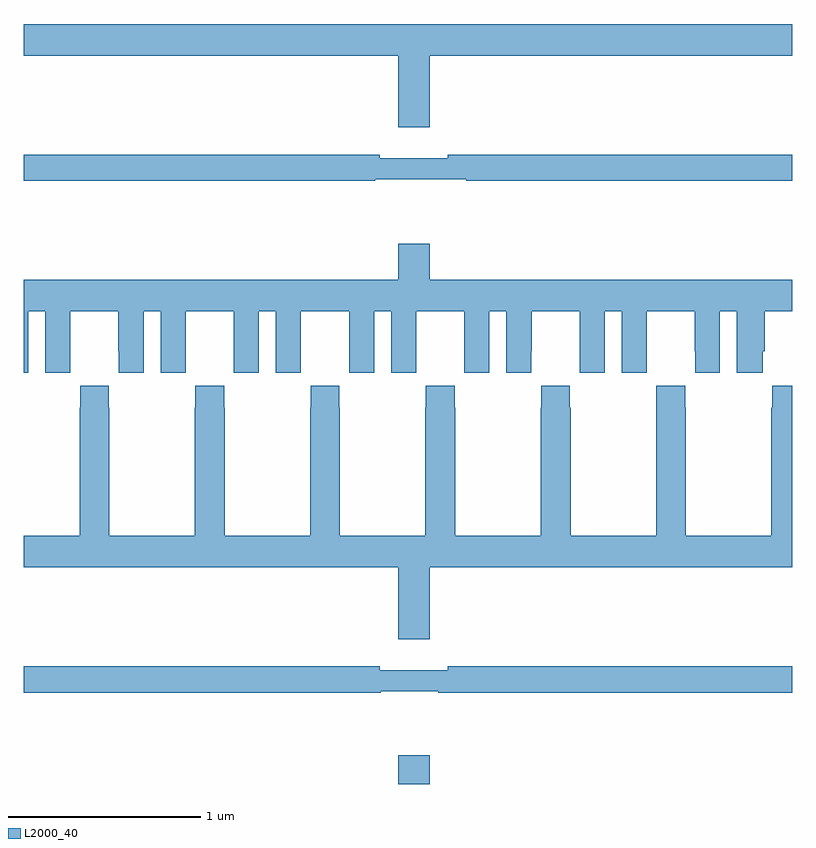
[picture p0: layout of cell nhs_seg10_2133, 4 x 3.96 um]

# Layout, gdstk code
import gdstk
lib = gdstk.Library(unit=1e-6, precision=1e-09)
def R(c, l, rs):  # rectangles x0, y0, x1, y1
    for r in rs: c.add(gdstk.rectangle(r[:2], r[2:], *l))
def P(c, l, *ps):  # polygons
    for p in ps: c.add(gdstk.Polygon(p, *l))
L2000_40 = (2000, 40)

nhs_seg10_2133 = lib.new_cell('nhs_seg10_2133')
R(nhs_seg10_2133, L2000_40, [(224.948,1320.5,225.112,1320.649)])
P(nhs_seg10_2133, L2000_40, [(225.112,1324.292),(227,1324.292),(227,1324.456),(223,1324.456),(223,1324.292),(224.948,1324.292),(224.948,1323.918),(225.112,1323.918)],
  [(224.83,1323.648),(225.304,1323.648),(225.304,1323.64),(227,1323.64),(227,1323.776),(225.208,1323.776),(225.208,1323.757),(224.852,1323.757),(224.852,1323.776),(223,1323.776),(223,1323.64),(224.83,1323.64)],
  [(223.024,1322.96),(223.112,1322.96),(223.112,1322.64),(223.242,1322.64),(223.242,1322.752),(223.243,1322.752),(223.243,1322.96),(223.493,1322.96),(223.493,1322.752),(223.494,1322.752),(223.494,1322.64),(223.624,1322.64),(223.624,1322.96),(223.712,1322.96),(223.712,1322.64),(223.842,1322.64),(223.842,1322.752),(223.843,1322.752),(223.843,1322.96),(224.093,1322.96),(224.093,1322.752),(224.094,1322.752),(224.094,1322.64),(224.224,1322.64),(224.224,1322.96),(224.312,1322.96),(224.312,1322.64),(224.442,1322.64),(224.442,1322.752),(224.443,1322.752),(224.443,1322.96),(224.693,1322.96),(224.693,1322.752),(224.694,1322.752),(224.694,1322.64),(224.824,1322.64),(224.824,1322.96),(224.912,1322.96),(224.912,1322.64),(225.042,1322.64),(225.042,1322.752),(225.043,1322.752),(225.043,1322.96),(225.293,1322.96),(225.293,1322.752),(225.294,1322.752),(225.294,1322.64),(225.424,1322.64),(225.424,1322.96),(225.512,1322.96),(225.512,1322.64),(225.642,1322.64),(225.642,1322.752),(225.643,1322.752),(225.643,1322.96),(225.893,1322.96),(225.893,1322.752),(225.894,1322.752),(225.894,1322.64),(226.024,1322.64),(226.024,1322.96),(226.112,1322.96),(226.112,1322.64),(226.242,1322.64),(226.242,1322.752),(226.243,1322.752),(226.243,1322.96),(226.493,1322.96),(226.493,1322.752),(226.494,1322.752),(226.494,1322.64),(226.624,1322.64),(226.624,1322.96),(226.712,1322.96),(226.712,1322.64),(226.846,1322.64),(226.846,1322.752),(226.856,1322.752),(226.856,1322.96),(227,1322.96),(227,1323.124),(225.112,1323.124),(225.112,1323.313),(224.948,1323.313),(224.948,1323.124),(223,1323.124),(223,1322.64),(223.024,1322.64)],
  [(224.948,1321.254),(225.112,1321.254),(225.112,1321.628),(227,1321.628),(227,1322.572),(226.897,1322.572),(226.897,1322.459),(226.891,1322.459),(226.891,1321.792),(226.446,1321.792),(226.446,1322.459),(226.443,1322.459),(226.443,1322.572),(226.293,1322.572),(226.293,1322.459),(226.291,1322.459),(226.291,1321.792),(225.846,1321.792),(225.846,1322.459),(225.843,1322.459),(225.843,1322.572),(225.693,1322.572),(225.693,1322.459),(225.691,1322.459),(225.691,1321.792),(225.246,1321.792),(225.246,1322.459),(225.243,1322.459),(225.243,1322.572),(225.093,1322.572),(225.093,1322.459),(225.091,1322.459),(225.091,1321.792),(224.646,1321.792),(224.646,1322.459),(224.643,1322.459),(224.643,1322.572),(224.493,1322.572),(224.493,1322.459),(224.491,1322.459),(224.491,1321.792),(224.046,1321.792),(224.046,1322.459),(224.043,1322.459),(224.043,1322.572),(223.893,1322.572),(223.893,1322.459),(223.891,1322.459),(223.891,1321.792),(223.446,1321.792),(223.446,1322.459),(223.443,1322.459),(223.443,1322.572),(223.293,1322.572),(223.293,1322.459),(223.291,1322.459),(223.291,1321.792),(223,1321.792),(223,1321.628),(224.948,1321.628)],
  [(224.858,1320.984),(225.158,1320.984),(225.158,1320.976),(227,1320.976),(227,1321.112),(225.208,1321.112),(225.208,1321.093),(224.852,1321.093),(224.852,1321.112),(223,1321.112),(223,1320.976),(224.858,1320.976)])

lib.write_gds('nhs_seg10_2133.gds')
